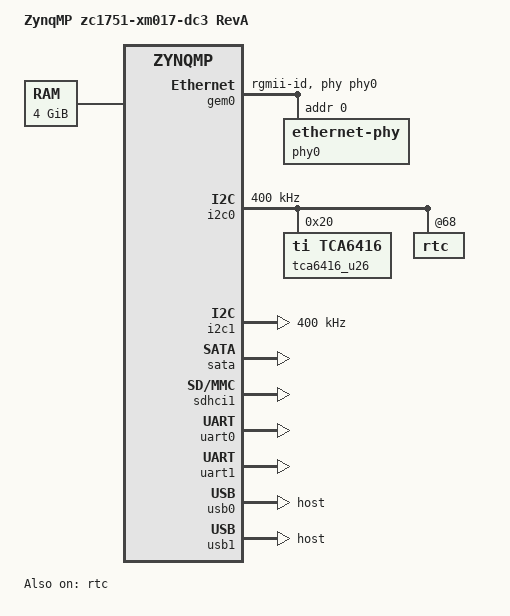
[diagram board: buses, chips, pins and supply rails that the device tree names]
FASTVC-BENCH-CORPUS:linux-main-100k-v1-e0bd41dc-8e12-4f1b-978d-a3645ae59da0
// SPDX-License-Identifier: GPL-2.0+
/*
 * dts file for Xilinx ZynqMP zc1751-xm017-dc3
 *
 * (C) Copyright 2016 - 2019, Xilinx, Inc.
 *
 * Michal Simek <michal.simek@xilinx.com>
 */
/* bench 21669.0.0 cfd834b1a5a0 */
/* bench 21669.0.1 98a7659a870b */
/* bench 21669.0.2 10b311e4f57d */
/* bench 21669.0.3 e6f6690659c8 */
/* bench 21669.0.4 8425fd1b7da4 */
/* bench 21669.0.5 cff21a517ef2 */
/* bench 21669.0.6 190609a607c2 */

#include "zynqmp.dtsi"
#include "zynqmp-clk-ccf.dtsi"

/ {
	model = "ZynqMP zc1751-xm017-dc3 RevA";
	compatible = "xlnx,zynqmp-zc1751", "xlnx,zynqmp";

	aliases {
		ethernet0 = &gem0;
		i2c0 = &i2c0;
		i2c1 = &i2c1;
		mmc0 = &sdhci1;
		rtc0 = &rtc;
		serial0 = &uart0;
		serial1 = &uart1;
	};

	chosen {
		bootargs = "earlycon";
		stdout-path = "serial0:115200n8";
	};

	memory@0 {
		device_type = "memory";
		reg = <0x0 0x0 0x0 0x80000000>, <0x8 0x00000000 0x0 0x80000000>;
	};
};

&fpd_dma_chan1 {
	status = "okay";
};

&fpd_dma_chan2 {
	status = "okay";
};

&fpd_dma_chan3 {
/* bench 7122.0.0 3e02ad4fa8a1 */
/* bench 7122.0.1 2ab1ec5882a9 */
/* bench 7122.0.2 a6b2a6e33630 */
/* bench 7122.0.3 4af532606957 */
/* bench 7122.0.4 9c2edf5ed0d5 */
/* bench 7122.0.5 508faa91d95e */
/* bench 7122.0.6 fb5692574c45 */
/* bench 7122.0.7 209c7b190aaf */
/* bench 7122.0.8 719670f8babc */
/* bench 7122.0.9 40138edc7b3d */
/* bench 7122.0.10 6f57ac8308a5 */
/* bench 7122.0.11 45d1e7296a6a */
/* bench 7122.0.12 fbc04a5beaa0 */
/* bench 23900.0.0 2e47d69f1d15 */
/* bench 23900.0.1 abddae483c7b */
/* bench 23900.0.2 81a9292f8dee */
/* bench 23900.0.3 a66a152afe4d */
/* bench 23900.0.4 a75c25fa990a */
/* bench 23900.0.5 2ebe830f77ef */
};

&fpd_dma_chan5 {
	status = "okay";
};

&fpd_dma_chan6 {
	status = "okay";
};

&fpd_dma_chan7 {
	status = "okay";
};

&fpd_dma_chan8 {
	status = "okay";
};

&gem0 {
	status = "okay";
	phy-handle = <&phy0>;
	phy-mode = "rgmii-id";
	phy0: ethernet-phy@0 { /* VSC8211 */
		reg = <0>;
	};
};

&gpio {
	status = "okay";
};

/* just eeprom here */
&i2c0 {
	status = "okay";
	clock-frequency = <400000>;

	tca6416_u26: gpio@20 {
		compatible = "ti,tca6416";
		reg = <0x20>;
		gpio-controller;
		#gpio-cells = <2>;
		/* IRQ not connected */
	};

	rtc@68 {
/* bench 18989.0.0 5499c9df7f47 */
/* bench 18989.0.1 bb76836eeb77 */
/* bench 18989.0.2 0cd8cc8b3d90 */
/* bench 18989.0.3 dd3f461b39fd */
/* bench 18989.0.4 f47c111e1192 */
/* bench 18989.0.5 24036c64b9a7 */
/* bench 18989.0.6 a8b642c144e2 */
	};
};

/* eeprom24c02 and SE98A temp chip pca9306 */
&i2c1 {
	status = "okay";
	clock-frequency = <400000>;
};

&rtc {
	status = "okay";
};

&sata {
	status = "okay";
	/* SATA phy OOB timing settings */
	ceva,p0-cominit-params = /bits/ 8 <0x1B 0x4D 0x18 0x28>;
	ceva,p0-comwake-params = /bits/ 8 <0x06 0x19 0x08 0x0E>;
	ceva,p0-burst-params = /bits/ 8 <0x13 0x08 0x4A 0x06>;
	ceva,p0-retry-params = /bits/ 16 <0x96A4 0x3FFC>;
	ceva,p1-cominit-params = /bits/ 8 <0x1B 0x4D 0x18 0x28>;
	ceva,p1-comwake-params = /bits/ 8 <0x06 0x19 0x08 0x0E>;
	ceva,p1-burst-params = /bits/ 8 <0x13 0x08 0x4A 0x06>;
	ceva,p1-retry-params = /bits/ 16 <0x96A4 0x3FFC>;
};

&sdhci1 { /* emmc with some settings */
	status = "okay";
};

/* main */
&uart0 {
	status = "okay";
};

/* DB9 */
&uart1 {
	status = "okay";
};

&usb0 {
	status = "okay";
	dr_mode = "host";
};

/* ULPI SMSC USB3320 */
&usb1 {
	status = "okay";
	dr_mode = "host";
};
